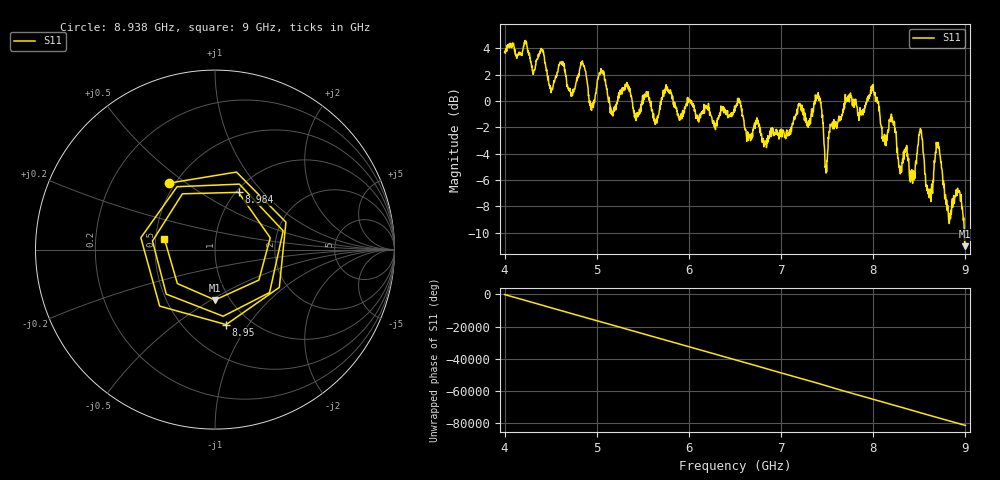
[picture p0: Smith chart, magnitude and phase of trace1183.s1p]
! Created with skrf 1.8.0 (http://scikit-rf.org).
# Hz S RI R 50.0
!freq ReS11 ImS11
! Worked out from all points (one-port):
!   1601 points, 4 GHz to 9 GHz, reference 50 ohm
!   lowest |S11| = -11.0 dB at 8.994 GHz (marker M1), VSWR 1.78, Z = 42.7 - j26 ohm
!   |S11| at or under -10 dB: 8.987779 GHz to end of sweep
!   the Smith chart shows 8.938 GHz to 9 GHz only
!   S11 on the Smith chart (normalised r, x): 8.938 GHz: 0.46, +0.43; 8.95 GHz: 0.78, -0.79; 8.984 GHz: 1.03, +0.74; 9 GHz: 0.56, +0.07
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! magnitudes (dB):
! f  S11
! 4 GHz  3.7
! 4.403 GHz  3.9
! 4.506 GHz  0.7
! 4.625 GHz  2.9
! 4.725 GHz  0.5
! 4.856 GHz  2.7
! 4.944 GHz  -0.7
! 5.05 GHz  2.4
! 5.162 GHz  -1.0
! 5.25 GHz  0.8
! 5.875 GHz  -1.1
! 6.5 GHz  -0.8
! 7.125 GHz  -1.8
! 7.406 GHz  0.2
! 7.491 GHz  -4.9
! 7.75 GHz  0.3
! 7.997 GHz  0.8
! 8.122 GHz  -2.5
! 8.375 GHz  -4.2
! 8.512 GHz  -2.1
! 8.603 GHz  -6.7
! 8.7 GHz  -3.2
! 8.825 GHz  -9.3
! 8.938 GHz  -6.9
! 8.95 GHz  -7.5
! 8.984 GHz  -9.2
! 8.994 GHz  -11.0
! 9 GHz  -10.8
